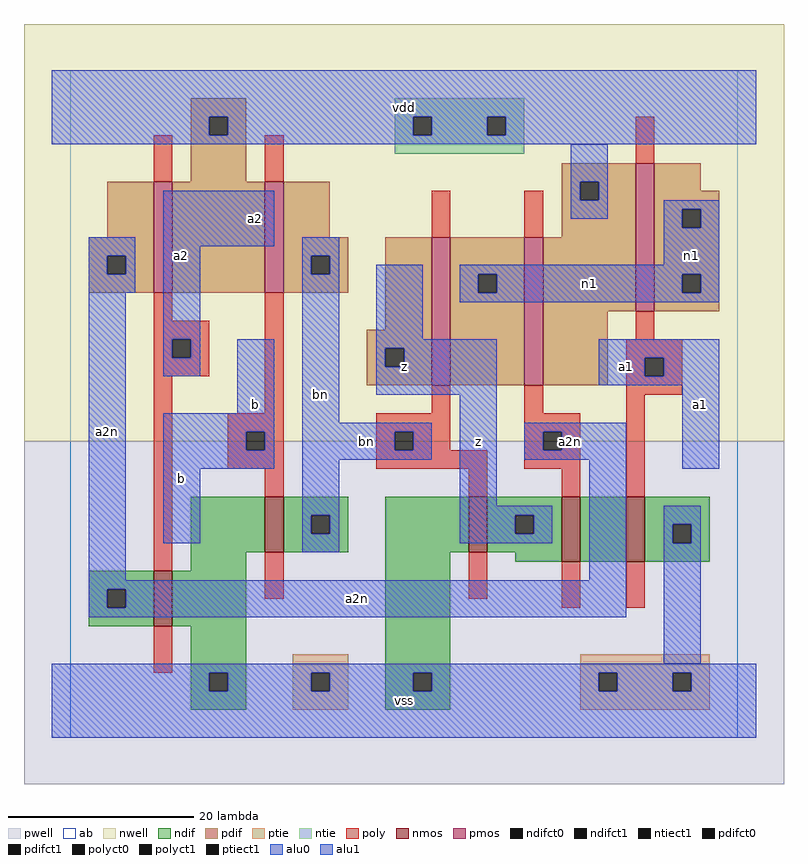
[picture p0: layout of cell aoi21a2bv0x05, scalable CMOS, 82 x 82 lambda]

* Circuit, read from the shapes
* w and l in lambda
.subckt aoi21a2bv0x05 a1 a2 a2n b bn n1 vdd vss z
M1 vss a2 a2n vss nfet w=6 l=2
M2 bn b vss vss nfet w=6 l=2
M3 z bn vss vss nfet w=6 l=2
M4 n2 a2n z vss nfet w=7 l=2
M5 vss a1 n2 vss nfet w=7 l=2
M6 vdd a2 a2n vdd pfet w=12 l=2
M7 bn b vdd vdd pfet w=12 l=2
M8 n1 bn z vdd pfet w=16 l=2
M9 vdd a2n n1 vdd pfet w=16 l=2
M10 n1 a1 vdd vdd pfet w=16 l=2
.ends

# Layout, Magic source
magic
tech scmos
<< ab >>
rect 0 0 72 72
<< nwell >>
rect -5 32 77 77
<< pwell >>
rect -5 -5 77 32
<< poly >>
rect 9 60 11 65
rect 21 60 23 65
rect 61 62 63 67
rect 39 54 41 59
rect 49 54 51 59
rect 9 45 11 48
rect 9 43 15 45
rect 9 41 11 43
rect 13 41 15 43
rect 9 39 15 41
rect 9 18 11 39
rect 21 35 23 48
rect 61 43 63 46
rect 60 41 66 43
rect 60 39 62 41
rect 64 39 66 41
rect 39 35 41 38
rect 17 33 23 35
rect 17 31 19 33
rect 21 31 23 33
rect 17 29 23 31
rect 33 33 41 35
rect 33 31 35 33
rect 37 31 41 33
rect 49 35 51 38
rect 60 37 66 39
rect 49 33 55 35
rect 49 31 51 33
rect 53 31 55 33
rect 33 29 45 31
rect 49 29 55 31
rect 21 26 23 29
rect 43 26 45 29
rect 53 26 55 29
rect 60 26 62 37
rect 21 15 23 20
rect 9 7 11 12
rect 43 15 45 20
rect 53 14 55 19
rect 60 14 62 19
<< ndif >>
rect 13 20 21 26
rect 23 24 30 26
rect 23 22 26 24
rect 28 22 30 24
rect 23 20 30 22
rect 34 20 43 26
rect 45 24 53 26
rect 45 22 48 24
rect 50 22 53 24
rect 45 20 53 22
rect 13 18 19 20
rect 2 16 9 18
rect 2 14 4 16
rect 6 14 9 16
rect 2 12 9 14
rect 11 12 19 18
rect 13 7 19 12
rect 13 5 15 7
rect 17 5 19 7
rect 13 3 19 5
rect 34 7 41 20
rect 48 19 53 20
rect 55 19 60 26
rect 62 23 69 26
rect 62 21 65 23
rect 67 21 69 23
rect 62 19 69 21
rect 34 5 37 7
rect 39 5 41 7
rect 34 3 41 5
<< pdif >>
rect 13 67 19 69
rect 13 65 15 67
rect 17 65 19 67
rect 13 60 19 65
rect 53 60 61 62
rect 4 54 9 60
rect 2 52 9 54
rect 2 50 4 52
rect 6 50 9 52
rect 2 48 9 50
rect 11 48 21 60
rect 23 54 28 60
rect 53 58 55 60
rect 57 58 61 60
rect 53 54 61 58
rect 23 52 30 54
rect 23 50 26 52
rect 28 50 30 52
rect 23 48 30 50
rect 34 44 39 54
rect 32 42 39 44
rect 32 40 34 42
rect 36 40 39 42
rect 32 38 39 40
rect 41 50 49 54
rect 41 48 44 50
rect 46 48 49 50
rect 41 38 49 48
rect 51 46 61 54
rect 63 59 68 62
rect 63 57 70 59
rect 63 55 66 57
rect 68 55 70 57
rect 63 50 70 55
rect 63 48 66 50
rect 68 48 70 50
rect 63 46 70 48
rect 51 38 58 46
<< alu1 >>
rect -2 67 74 72
rect -2 65 15 67
rect 17 65 37 67
rect 39 65 45 67
rect 47 65 74 67
rect -2 64 74 65
rect 10 53 22 59
rect 10 43 14 53
rect 10 41 11 43
rect 13 41 14 43
rect 10 39 14 41
rect 18 35 22 43
rect 10 33 22 35
rect 10 31 19 33
rect 21 31 22 33
rect 10 29 22 31
rect 33 43 38 51
rect 33 42 46 43
rect 33 40 34 42
rect 36 40 46 42
rect 33 37 46 40
rect 57 41 70 43
rect 57 39 62 41
rect 64 39 70 41
rect 57 38 70 39
rect 10 21 14 29
rect 42 25 46 37
rect 42 24 52 25
rect 42 22 48 24
rect 50 22 52 24
rect 42 21 52 22
rect 66 29 70 38
rect -2 7 74 8
rect -2 5 15 7
rect 17 5 26 7
rect 28 5 37 7
rect 39 5 57 7
rect 59 5 65 7
rect 67 5 74 7
rect -2 0 74 5
<< ptie >>
rect 24 7 30 9
rect 24 5 26 7
rect 28 5 30 7
rect 24 3 30 5
rect 55 7 69 9
rect 55 5 57 7
rect 59 5 65 7
rect 67 5 69 7
rect 55 3 69 5
<< ntie >>
rect 35 67 49 69
rect 35 65 37 67
rect 39 65 45 67
rect 47 65 49 67
rect 35 63 49 65
<< nmos >>
rect 21 20 23 26
rect 43 20 45 26
rect 9 12 11 18
rect 53 19 55 26
rect 60 19 62 26
<< pmos >>
rect 9 48 11 60
rect 21 48 23 60
rect 39 38 41 54
rect 49 38 51 54
rect 61 46 63 62
<< polyct0 >>
rect 35 31 37 33
rect 51 31 53 33
<< polyct1 >>
rect 11 41 13 43
rect 62 39 64 41
rect 19 31 21 33
<< ndifct0 >>
rect 26 22 28 24
rect 4 14 6 16
rect 65 21 67 23
<< ndifct1 >>
rect 48 22 50 24
rect 15 5 17 7
rect 37 5 39 7
<< ntiect1 >>
rect 37 65 39 67
rect 45 65 47 67
<< ptiect1 >>
rect 26 5 28 7
rect 57 5 59 7
rect 65 5 67 7
<< pdifct0 >>
rect 4 50 6 52
rect 55 58 57 60
rect 26 50 28 52
rect 44 48 46 50
rect 66 55 68 57
rect 66 48 68 50
<< pdifct1 >>
rect 15 65 17 67
rect 34 40 36 42
<< alu0 >>
rect 54 60 58 64
rect 2 52 7 54
rect 2 50 4 52
rect 6 50 7 52
rect 2 48 7 50
rect 54 58 55 60
rect 57 58 58 60
rect 54 56 58 58
rect 64 57 70 58
rect 64 55 66 57
rect 68 55 70 57
rect 2 17 6 48
rect 25 52 29 54
rect 25 50 26 52
rect 28 50 29 52
rect 64 51 70 55
rect 25 34 29 50
rect 42 50 70 51
rect 42 48 44 50
rect 46 48 66 50
rect 68 48 70 50
rect 42 47 70 48
rect 25 33 39 34
rect 25 31 35 33
rect 37 31 39 33
rect 25 30 39 31
rect 25 24 29 30
rect 25 22 26 24
rect 28 22 29 24
rect 25 20 29 22
rect 49 33 60 34
rect 49 31 51 33
rect 53 31 60 33
rect 49 30 60 31
rect 56 17 60 30
rect 2 16 60 17
rect 2 14 4 16
rect 6 14 60 16
rect 2 13 60 14
rect 64 23 68 25
rect 64 21 65 23
rect 67 21 68 23
rect 64 8 68 21
<< labels >>
rlabel alu0 4 33 4 33 6 a2n
rlabel alu0 27 37 27 37 6 bn
rlabel alu0 32 32 32 32 6 bn
rlabel alu0 31 15 31 15 6 a2n
rlabel alu0 54 32 54 32 6 a2n
rlabel alu0 56 49 56 49 6 n1
rlabel alu0 67 52 67 52 6 n1
rlabel alu1 12 28 12 28 6 b
rlabel alu1 12 52 12 52 6 a2
rlabel alu1 20 36 20 36 6 b
rlabel alu1 20 56 20 56 6 a2
rlabel alu1 36 4 36 4 6 vss
rlabel alu1 44 32 44 32 6 z
rlabel alu1 36 40 36 40 6 z
rlabel alu1 36 68 36 68 6 vdd
rlabel alu1 60 40 60 40 6 a1
rlabel alu1 68 36 68 36 6 a1
<< end >>
